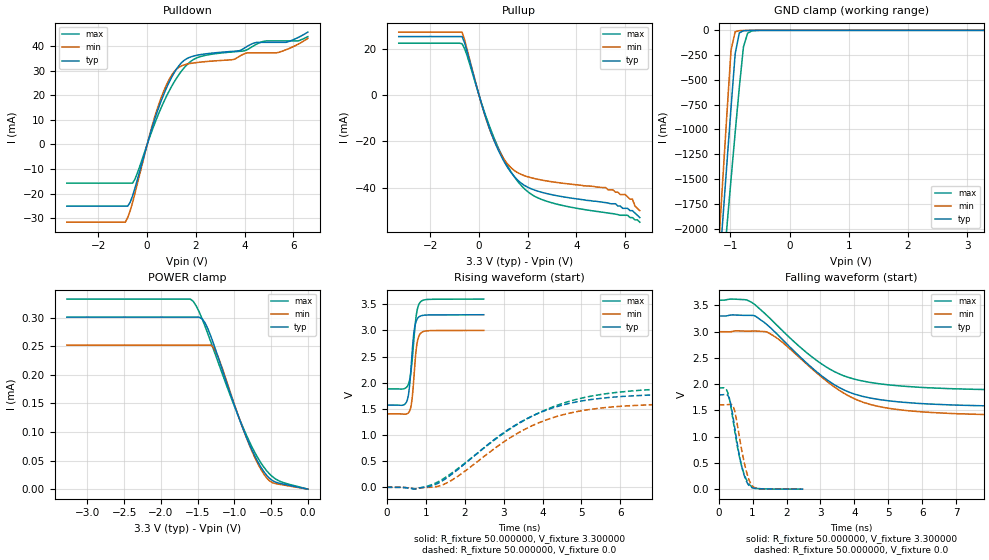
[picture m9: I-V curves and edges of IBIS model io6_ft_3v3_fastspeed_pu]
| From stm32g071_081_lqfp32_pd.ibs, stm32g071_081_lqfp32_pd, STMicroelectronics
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|   Model io6_ft_3v3_fastspeed_pu
[Model]  io6_ft_3v3_fastspeed_pu
Model_type I/O
Polarity   Non-Inverting
Enable   Active-Low
Vinl =   0.990000V
Vinh =   2.310000V
Vmeas =  1.650000V
Cref =   50.000000pF
Rref =   100.000000M
Vref =   0.0V
C_comp   1.290400pF   1.272500pF   1.305600pF
[Temperature Range]   25.000000   -40.000000   0.125000k
[Pullup Reference]   3.300000V   3.000000V   3.600000V
[Pulldown Reference]   0.0V   0.0V   0.0V
[POWER Clamp Reference]   3.300000V   3.000000V   3.600000V
[GND Clamp Reference]   0.0V   0.0V   0.0V
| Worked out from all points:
|   slope of the pulldown table from 0 to 0.495 V, typ, clamps not added: 31.8 ohm
|   slope of the pullup table from 0 to 0.495 V, typ, clamps not added: 30.4 ohm
|   GND clamp passes 1 mA (typ) near -0.65 V on its own axis
|   rising waveform, R_fixture 50.000000, V_fixture 3.300000: 20-80 % time 114ps typ, 109ps min, 129ps max; typ from 1.57 V to 3.3 V
|   rising waveform, R_fixture 50.000000, V_fixture 0.0: 20-80 % time 2.11ns typ, 2.05ns min, 2.4ns max; typ from 0.002 V to 1.8 V
|   falling waveform, R_fixture 50.000000, V_fixture 3.300000: 20-80 % time 1.89ns typ, 1.91ns min, 1.95ns max; typ from 3.3 V to 1.57 V
|   falling waveform, R_fixture 50.000000, V_fixture 0.0: 20-80 % time 300ps typ, 289ps min, 333ps max; typ from 1.8 V to 0.002 V
[Pulldown]
|Voltage   I(typ)   I(min)   I(max)
-3.3V     -25.03mA   -31.54mA   -15.7mA
-900mV    -25.03mA   -31.54mA   -15.7mA
-700mV    -23.48mA   -26.95mA   -15.7mA
-500mV    -17.69mA   -19.75mA   -14.07mA
100mV     3.479mA    3.853mA    2.862mA
500mV     15.71mA    16.96mA    13.17mA
900mV     25.22mA    26.33mA    21.66mA
1.3V      31.91mA    31.32mA    28.29mA
2.2V      36.48mA    33.43mA    35.69mA
4.1V      39.76mA    37.15mA    38.42mA
5.3V      41.43mA    37.15mA    42.02mA
6.6V      45.6mA     43.04mA    43.74mA
[Pullup]
|Voltage   I(typ)   I(min)   I(max)
-3.3V     25.49mA    27.43mA    22.6mA
-700mV    25.49mA    27.43mA    22.39mA
-500mV    19.3mA     20.21mA    17.46mA
100mV     -3.672mA   -3.825mA   -3.371mA
600mV     -19.12mA   -19.15mA   -18.08mA
1.1V      -30.05mA   -28.8mA    -29.38mA
1.7V      -37.83mA   -34.15mA   -38.73mA
2.8V      -42.64mA   -37.15mA   -46mA
5.2V      -46.5mA    -40mA      -50.9mA
6.3V      -50mA      -45mA      -53mA
6.4V      -51mA      -48mA      -54mA
6.6V      -53mA      -50mA      -55mA
[GND_clamp]
|Voltage   I(typ)   I(min)   I(max)
-3.3V     -9.61A     -9.635A    -9.699A
-1.2V     -2.493A    -2.184A    -2.958A
-1.13V    -1.917A    -1.512A    -2.469A
-1.06V    -1.345A    -845.6mA   -1.983A
-990mV    -779.8mA   -200.2mA   -1.503A
-920mV    -235.5mA   -14.18mA   -1.03A
-850mV    -26.06mA   -3.338mA   -574.2mA
-780mV    -4.499mA   -1.808mA   -166.4mA
-710mV    -1.722mA   -869.6uA   -29.45mA
-640mV    -806.7uA   -283.7uA   -6.281mA
3.28V     0A         0A         0A
[POWER_clamp]
|Voltage   I(typ)   I(min)   I(max)
-3.28V    300.8uA    252uA      332.4uA
-1.6V     300.8uA    252uA      332.4uA
-1.56V    300.8uA    252uA      328.4uA
-1.44V    297.9uA    252uA      298.3uA
-1.36V    280.4uA    252uA      271.4uA
-1.28V    252.9uA    246.9uA    243.1uA
-1.2V     222.5uA    224.3uA    214.5uA
-920mV    118.6uA    118.8uA    119.5uA
-680mV    47.6uA     44.33uA    54.63uA
-560mV    24.08uA    19.48uA    32.08uA
-480mV    14.89uA    11.29uA    21.67uA
0V        0A         0A         0A
[Ramp]
| variable   typ   min   max
dV/dt_r  1.07348/2.09581n   0.96120/2.04204n   1.14413/2.37702n
dV/dt_f  1.02792/1.87135n   0.94800/1.89025n   1.02144/1.93042n
R_load = 50.000000
[Rising Waveform]
R_fixture= 50.000000
V_fixture= 3.300000
V_fixture_min= 3.000000
V_fixture_max= 3.600000
|time   V(typ)   V(min)   V(max)
0s        1.573V     1.405V     1.883V
435.4ps   1.577V     1.401V     1.884V
510.5ps   1.636V     1.404V     1.915V
560.6ps   1.78V      1.429V     1.979V
635.6ps   2.391V     1.601V     2.298V
700.7ps   2.971V     2.119V     2.852V
760.8ps   3.182V     2.656V     3.296V
820.8ps   3.254V     2.878V     3.487V
1.031ns   3.295V     2.993V     3.591V
2.492ns   3.3V       3V         3.6V
[Rising Waveform]
R_fixture= 50.000000
V_fixture= 0.0
V_fixture_min= 0.0
V_fixture_max= 0.0
|time   V(typ)   V(min)   V(max)
0s        1.557mV    1.173mV    2.432mV
780.8ps   -19.42mV   -19.79mV   -27.93mV
1.161ns   31.17mV    3.07mV     53.19mV
1.461ns   141.2mV    57.15mV    168.4mV
3.243ns   1.163V     983.2mV    1.154V
3.844ns   1.401V     1.216V     1.402V
4.585ns   1.588V     1.399V     1.622V
5.305ns   1.686V     1.498V     1.752V
6.346ns   1.751V     1.565V     1.847V
9.97ns    1.797V     1.608V     1.926V
[Falling Waveform]
R_fixture= 50.000000
V_fixture= 3.300000
V_fixture_min= 3.000000
V_fixture_max= 3.600000
|time   V(typ)   V(min)   V(max)
0s        3.3V       3V         3.6V
820.8ps   3.312V     3.011V     3.605V
1.081ns   3.297V     3.013V     3.509V
1.441ns   3.125V     2.989V     3.298V
2.903ns   2.228V     2.208V     2.445V
3.443ns   1.977V     1.933V     2.229V
3.984ns   1.817V     1.728V     2.099V
4.685ns   1.713V     1.58V      2.013V
5.866ns   1.635V     1.479V     1.944V
9.97ns    1.573V     1.405V     1.883V
[Falling Waveform]
R_fixture= 50.000000
V_fixture= 0.0
V_fixture_min= 0.0
V_fixture_max= 0.0
|time   V(typ)   V(min)   V(max)
0s        1.797V     1.608V     1.926V
250.2ps   1.798V     1.61V      1.871V
340.3ps   1.67V      1.618V     1.647V
435.4ps   1.332V     1.569V     1.272V
575.6ps   767.8mV    1.136V     735.2mV
685.7ps   420.9mV    727.2mV    423.3mV
800.8ps   179.3mV    382mV      208.1mV
925.9ps   51.67mV    132.2mV    75.76mV
1.181ns   9.789mV    12.46mV    11.36mV
2.492ns   1.557mV    1.173mV    2.432mV
